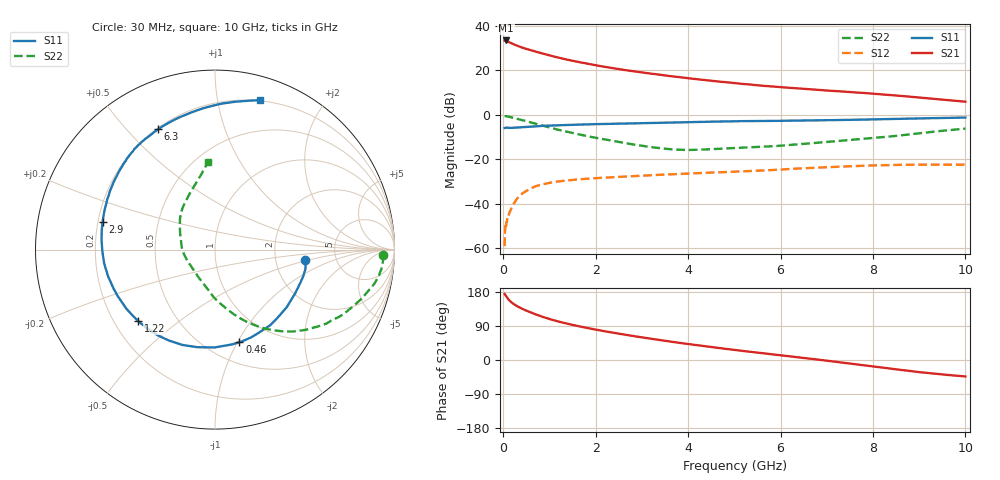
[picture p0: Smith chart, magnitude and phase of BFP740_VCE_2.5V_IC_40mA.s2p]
! Infineon Technologies  Discrete & RF Semiconductors
! BFP740
! VCE =  2.5 V,  IC =  40 mA
! Common Emitter S-Parameters:  Jan 2016
# GHz  S  MA  R  50
!  f  S11  S21  S12  S22
! GHz  MAG  ANG  MAG  ANG  MAG  ANG  MAG  ANG
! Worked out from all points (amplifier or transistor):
!   229 points, 30 MHz to 10 GHz, reference 50 ohm
!   highest |S21| = 33.5 dB at 60 MHz (marker M1)
!   |S21| within 3 dB of that: start of sweep to 381.3 MHz
!   unconditionally stable (mu >= 1): start of sweep to 30.25 MHz; 4.974 GHz to 9.959 GHz
!   at 280 MHz: K = 0.35, MSG = 34.8 dB, |S12| = -38.3 dB
!   at 1.78 GHz: K = 0.59, MSG = 26.0 dB, |S12| = -28.8 dB
!   at 10 GHz: K = 1.00, MSG = 14.2 dB, |S12| = -22.4 dB
!   S11 on the Smith chart (normalised r, x): 30 MHz: 2.95, -0.46; 460 MHz: 0.71, -1.02; 1.22 GHz: 0.30, -0.36; 2.9 GHz: 0.22, +0.12; 6.3 GHz: 0.21, +0.61; 10 GHz: 0.19, +1.33
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0.03  0.504 -6.6  46.94 174.4  0.0011 77.5  0.9341 -1.9
0.06  0.5153 -12.3  47.51 168.7  0.0028 85.2  0.935 -5.5
0.09  0.511 -18.9  45.82 163.3  0.0048 86.3  0.9254 -8.9
0.12  0.509 -24.7  44.02 158.9  0.0057 78.6  0.9097 -11.8
0.2  0.5124 -38.8  40.03 149.9  0.009 72.5  0.864 -18.2
0.3  0.5216 -53.9  36.28 142.1  0.013 69.7  0.8136 -24.8
0.34  0.5223 -59.8  34.74 139.5  0.0144 67.2  0.7956 -27.3
0.46  0.5338 -75.2  31.55 132.3  0.0183 61.6  0.7399 -34.1
0.68  0.5499 -98.4  26.95 121.4  0.0241 52.8  0.6416 -45.0
0.8  0.5611 -108.7  24.92 116.0  0.0264 48.6  0.5932 -50.2
1  0.5741 -123.5  21.97 108.2  0.0294 43.7  0.5207 -57.7
1.22  0.5841 -137.1  19.21 100.7  0.0319 39.0  0.4538 -64.5
1.7  0.6053 -158.8  15.03 87.4  0.0357 32.4  0.3507 -76.7
2.2  0.6241 -175.7  12.09 75.7  0.0386 28.8  0.2795 -88.6
2.9  0.6453 166.0  9.376 61.6  0.0421 25.4  0.2086 -105.9
3.4  0.6627 154.8  7.986 52.4  0.0448 23.3  0.1776 -122.3
4.1  0.6879 141.5  6.514 40.4  0.048 20.7  0.1626 -149.5
5.1  0.7194 127.5  5.08 25.1  0.0531 17.2  0.1809 -179.2
6.3  0.7415 115.4  4 8.5  0.061 13.0  0.2131 155.3
6.8  0.7529 109.7  3.671 1.2  0.0647 10.1  0.2351 146.2
8.4  0.8077 89.2  2.784 -23.1  0.0741 -2.1  0.3283 117.6
10  0.8697 73.2  1.982 -43.4  0.0757 -12.9  0.4902 94.6
